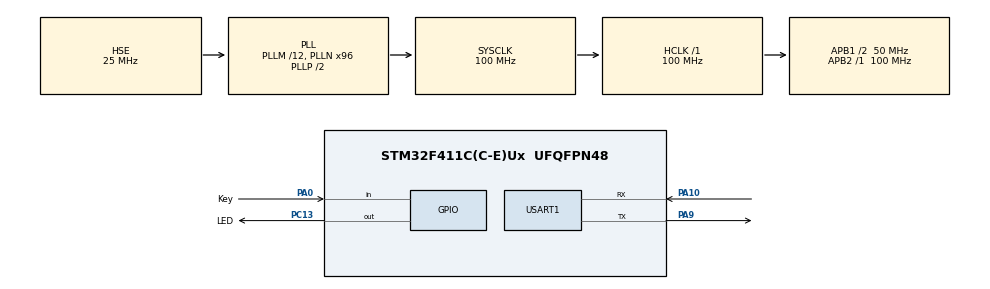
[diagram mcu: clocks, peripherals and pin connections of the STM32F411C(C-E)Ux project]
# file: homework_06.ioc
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FREERTOS.Tasks01=defaultTask,24,128,StartDefaultTask,Default,NULL,Dynamic,NULL,NULL
Mcu.Family=STM32F4
Mcu.Name=STM32F411C(C-E)Ux
Mcu.Package=UFQFPN48
NVIC.PriorityGroup=NVIC_PRIORITYGROUP_4
NVIC.TIM1_UP_TIM10_IRQn=true\:15\:0\:false\:false\:true\:false\:false\:true\:true
NVIC.TimeBase=TIM1_UP_TIM10_IRQn
NVIC.TimeBaseIP=TIM1
PA0-WKUP.GPIO_Label=Key
PA0-WKUP.GPIO_PuPd=GPIO_PULLUP
PA0-WKUP.Signal=GPIO_Input
PA10.Mode=Asynchronous
PA10.Signal=USART1_RX
PA13.Mode=Serial_Wire
PA13.Signal=SYS_JTMS-SWDIO
PA14.Mode=Serial_Wire
PA14.Signal=SYS_JTCK-SWCLK
PA9.Mode=Asynchronous
PA9.Signal=USART1_TX
PC13-ANTI_TAMP.GPIO_Label=LED
PC13-ANTI_TAMP.Signal=GPIO_Output
PC14-OSC32_IN.Mode=LSE-External-Oscillator
PC14-OSC32_IN.Signal=RCC_OSC32_IN
PC15-OSC32_OUT.Mode=LSE-External-Oscillator
PC15-OSC32_OUT.Signal=RCC_OSC32_OUT
PH0\ -\ OSC_IN.Mode=HSE-External-Oscillator
PH0\ -\ OSC_IN.Signal=RCC_OSC_IN
PH1\ -\ OSC_OUT.Mode=HSE-External-Oscillator
PH1\ -\ OSC_OUT.Signal=RCC_OSC_OUT
ProjectManager.HeapSize=0x200
ProjectManager.StackSize=0x400
ProjectManager.TargetToolchain=MDK-ARM V5.32
RCC.48MHZClocksFreq_Value=50000000
RCC.AHBFreq_Value=100000000
RCC.APB1CLKDivider=RCC_HCLK_DIV2
RCC.APB1Freq_Value=50000000
RCC.APB1TimFreq_Value=100000000
RCC.APB2Freq_Value=100000000
RCC.APB2TimFreq_Value=100000000
RCC.CortexFreq_Value=100000000
RCC.HCLKFreq_Value=100000000
RCC.HSE_VALUE=25000000
RCC.HSI_VALUE=16000000
RCC.PLLM=12
RCC.PLLN=96
RCC.PLLSourceVirtual=RCC_PLLSOURCE_HSE
RCC.SYSCLKFreq_VALUE=100000000
RCC.SYSCLKSource=RCC_SYSCLKSOURCE_PLLCLK
RCC.VCOOutputFreq_Value=200000000
USART1.VirtualMode=VM_ASYNC
VP_FREERTOS_VS_CMSIS_V2.Mode=CMSIS_V2
VP_SYS_VS_tim1.Mode=TIM1
board=custom

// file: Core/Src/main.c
/* USER CODE BEGIN Header */
/**
  ******************************************************************************
  * @file           : main.c
  * @brief          : Main program body
  ******************************************************************************
  * @attention
  *
  * Copyright (c) 2024 STMicroelectronics.
  * All rights reserved.
  *
  * This software is licensed under terms that can be found in the LICENSE file
  * in the root directory of this software component.
  * If no LICENSE file comes with this software, it is provided AS-IS.
  *
  ******************************************************************************
  */
/* USER CODE END Header */
#include "main.h"
#include "cmsis_os.h"

/* USER CODE BEGIN Includes */
#include<stdio.h>
/* USER CODE END Includes */

UART_HandleTypeDef huart1;

/* Definitions for defaultTask */
osThreadId_t defaultTaskHandle;
const osThreadAttr_t defaultTask_attributes = {
  .name = "defaultTask",
  .stack_size = 128 * 4,
  .priority = (osPriority_t) osPriorityNormal,
};

void SystemClock_Config(void);
static void MX_GPIO_Init(void);
static void MX_USART1_UART_Init(void);
void StartDefaultTask(void *argument);

/* USER CODE BEGIN PFP */
#ifdef __GNUC__
#define PUTCHAR_PROTOTYPE int _io_putchar(int ch)
#else
#define PUTCHAR_PROTOTYPE int fputc(int ch, FILE *f)
#endif /* __GNUC__*/

/***********************************************************
    * @brief    Retargets the C library printf function to the USART
    * @param    None
    * @retval   None
***********************************************************/
int fputc(int ch, FILE* f) {
    HAL_UART_Transmit(&huart1, (uint8_t*)&ch, 1, 0xFFFF);
    return ch;
}
/* USER CODE END PFP */

int main(void)
{

  /* MCU Configuration--------------------------------------------------------*/

  /* Reset of all peripherals, Initializes the Flash interface and the Systick. */
  HAL_Init();

  /* Configure the system clock */
  SystemClock_Config();

  /* Initialize all configured peripherals */
  MX_GPIO_Init();
  MX_USART1_UART_Init();

  /* Init scheduler */
  osKernelInitialize();

  /* Create the thread(s) */
  /* creation of defaultTask */
  defaultTaskHandle = osThreadNew(StartDefaultTask, NULL, &defaultTask_attributes);

  /* Start scheduler */
  osKernelStart();

  /* We should never get here as control is now taken by the scheduler */

  /* Infinite loop */
  while (1)
  {

  }
}

void SystemClock_Config(void)
{
  RCC_OscInitTypeDef RCC_OscInitStruct = {0};
  RCC_ClkInitTypeDef RCC_ClkInitStruct = {0};

  /** Configure the main internal regulator output voltage
  */
  __HAL_RCC_PWR_CLK_ENABLE();
  __HAL_PWR_VOLTAGESCALING_CONFIG(PWR_REGULATOR_VOLTAGE_SCALE1);

  /** Initializes the RCC Oscillators according to the specified parameters
  * in the RCC_OscInitTypeDef structure.
  */
  RCC_OscInitStruct.OscillatorType = RCC_OSCILLATORTYPE_HSE;
  RCC_OscInitStruct.HSEState = RCC_HSE_ON;
  RCC_OscInitStruct.PLL.PLLState = RCC_PLL_ON;
  RCC_OscInitStruct.PLL.PLLSource = RCC_PLLSOURCE_HSE;
  RCC_OscInitStruct.PLL.PLLM = 12;
  RCC_OscInitStruct.PLL.PLLN = 96;
  RCC_OscInitStruct.PLL.PLLP = RCC_PLLP_DIV2;
  RCC_OscInitStruct.PLL.PLLQ = 4;
  if (HAL_RCC_OscConfig(&RCC_OscInitStruct) != HAL_OK)
  {
    Error_Handler();
  }

  /** Initializes the CPU, AHB and APB buses clocks
  */
  RCC_ClkInitStruct.ClockType = RCC_CLOCKTYPE_HCLK|RCC_CLOCKTYPE_SYSCLK
                              |RCC_CLOCKTYPE_PCLK1|RCC_CLOCKTYPE_PCLK2;
  RCC_ClkInitStruct.SYSCLKSource = RCC_SYSCLKSOURCE_PLLCLK;
  RCC_ClkInitStruct.AHBCLKDivider = RCC_SYSCLK_DIV1;
  RCC_ClkInitStruct.APB1CLKDivider = RCC_HCLK_DIV2;
  RCC_ClkInitStruct.APB2CLKDivider = RCC_HCLK_DIV1;

  if (HAL_RCC_ClockConfig(&RCC_ClkInitStruct, FLASH_LATENCY_3) != HAL_OK)
  {
    Error_Handler();
  }
}

static void MX_USART1_UART_Init(void)
{

  huart1.Instance = USART1;
  huart1.Init.BaudRate = 115200;
  huart1.Init.WordLength = UART_WORDLENGTH_8B;
  huart1.Init.StopBits = UART_STOPBITS_1;
  huart1.Init.Parity = UART_PARITY_NONE;
  huart1.Init.Mode = UART_MODE_TX_RX;
  huart1.Init.HwFlowCtl = UART_HWCONTROL_NONE;
  huart1.Init.OverSampling = UART_OVERSAMPLING_16;
  if (HAL_UART_Init(&huart1) != HAL_OK)
  {
    Error_Handler();
  }

}

static void MX_GPIO_Init(void)
{
  GPIO_InitTypeDef GPIO_InitStruct = {0};

  /* GPIO Ports Clock Enable */
  __HAL_RCC_GPIOC_CLK_ENABLE();
  __HAL_RCC_GPIOH_CLK_ENABLE();
  __HAL_RCC_GPIOA_CLK_ENABLE();

  /*Configure GPIO pin Output Level */
  HAL_GPIO_WritePin(LED_GPIO_Port, LED_Pin, GPIO_PIN_RESET);

  /*Configure GPIO pin : LED_Pin */
  GPIO_InitStruct.Pin = LED_Pin;
  GPIO_InitStruct.Mode = GPIO_MODE_OUTPUT_PP;
  GPIO_InitStruct.Pull = GPIO_NOPULL;
  GPIO_InitStruct.Speed = GPIO_SPEED_FREQ_LOW;
  HAL_GPIO_Init(LED_GPIO_Port, &GPIO_InitStruct);

  /*Configure GPIO pin : Key_Pin */
  GPIO_InitStruct.Pin = Key_Pin;
  GPIO_InitStruct.Mode = GPIO_MODE_INPUT;
  GPIO_InitStruct.Pull = GPIO_PULLUP;
  HAL_GPIO_Init(Key_GPIO_Port, &GPIO_InitStruct);

}

void StartDefaultTask(void *argument)
{
  /* USER CODE BEGIN 5 */
  /* Infinite loop */
  for(;;)
  {
      printf("Hellow Eternal Chip\r\n");
      //默认情况下不亮
      HAL_GPIO_WritePin(LED_GPIO_Port, LED_Pin, GPIO_PIN_SET);
      //1、读按键电平，若高电平则是未按下
      if (HAL_GPIO_ReadPin(Key_GPIO_Port, Key_Pin) == GPIO_PIN_SET) {

      }
      //2、若是低电平，则是按下的状态
      else {
          //2.1、LED亮起
          HAL_GPIO_WritePin(LED_GPIO_Port, LED_Pin, GPIO_PIN_RESET);
          //2.2、延时500ms
          HAL_Delay(500);
          //2.3、LED熄灭
          HAL_GPIO_WritePin(LED_GPIO_Port, LED_Pin, GPIO_PIN_SET);
          //2.4、延时500ms
          HAL_Delay(500);
      }
    osDelay(1);
  }
  /* USER CODE END 5 */
}

void HAL_TIM_PeriodElapsedCallback(TIM_HandleTypeDef *htim)
{
  if (htim->Instance == TIM1) {
    HAL_IncTick();
  }
}

void Error_Handler(void)
{
  __disable_irq();
  while (1)
  {
  }
}
